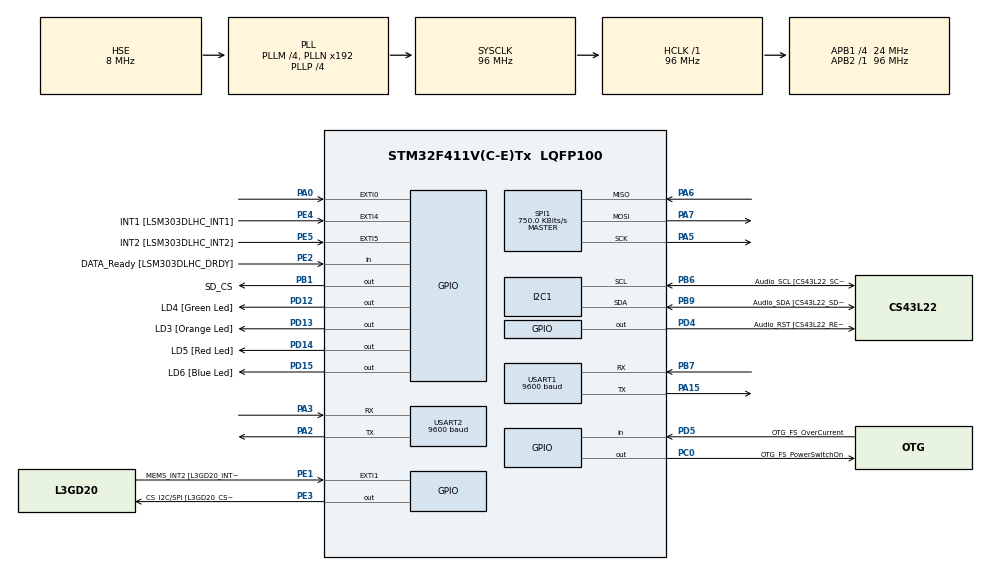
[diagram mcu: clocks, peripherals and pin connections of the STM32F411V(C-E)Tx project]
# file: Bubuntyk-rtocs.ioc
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FREERTOS.BinarySemaphores01=txThreadSem,Dynamic,NULL;rxThreadSem,Dynamic,NULL
FREERTOS.Tasks01=defaultTask,24,1000,StartDefaultTask,Default,NULL,Dynamic,NULL,NULL;rxDataThread,48,1000,startRxDataThread,Default,NULL,Dynamic,NULL,NULL;txDataThread,40,1000,startTxDataThread,Default,NULL,Dynamic,NULL,NULL;telemetryThread,16,1000,startTelemetryThread,Default,NULL,Dynamic,NULL,NULL
FREERTOS.Timers01=accTimer,accTimerCallback,osTimerPeriodic,Default,NULL,Dynamic,NULL;temperatureTimer,temperatureTimerCallback,osTimerPeriodic,Default,NULL,Dynamic,NULL
FREERTOS.configMINIMAL_STACK_SIZE=128
FREERTOS.configUSE_NEWLIB_REENTRANT=1
Mcu.Family=STM32F4
Mcu.Name=STM32F411V(C-E)Tx
Mcu.Package=LQFP100
NVIC.PriorityGroup=NVIC_PRIORITYGROUP_4
NVIC.TIM5_IRQn=true\:15\:0\:false\:false\:true\:false\:false\:true
NVIC.TimeBase=TIM5_IRQn
NVIC.TimeBaseIP=TIM5
NVIC.USART1_IRQn=true\:5\:0\:false\:false\:true\:true\:true\:true
NVIC.USART2_IRQn=true\:5\:0\:false\:false\:true\:true\:true\:true
PA0-WKUP.GPIO_ModeDefaultEXTI=GPIO_MODE_EVT_RISING
PA0-WKUP.Signal=GPXTI0
PA10.GPIO_Label=OTG_FS_ID
PA10.Signal=USB_OTG_FS_ID
PA13.GPIO_Label=SWDIO
PA13.Mode=Serial_Wire
PA13.Signal=SYS_JTMS-SWDIO
PA14.GPIO_Label=SWCLK
PA14.Mode=Serial_Wire
PA14.Signal=SYS_JTCK-SWCLK
PA15.Mode=Asynchronous
PA15.Signal=USART1_TX
PA2.Mode=Asynchronous
PA2.Signal=USART2_TX
PA3.Mode=Asynchronous
PA3.Signal=USART2_RX
PA4.GPIO_Label=I2S3_WS [CS43L22_LRCK]
PA4.GPIO_Mode=GPIO_MODE_AF_PP
PA4.GPIO_PuPd=GPIO_NOPULL
PA4.GPIO_Speed=GPIO_SPEED_FREQ_LOW
PA4.Signal=I2S3_WS
PA5.GPIO_Mode=GPIO_MODE_AF_PP
PA5.GPIO_PuPd=GPIO_PULLUP
PA5.GPIO_Speed=GPIO_SPEED_FREQ_VERY_HIGH
PA5.Mode=Full_Duplex_Master
PA5.Signal=SPI1_SCK
PA6.GPIO_Mode=GPIO_MODE_AF_PP
PA6.GPIO_PuPd=GPIO_PULLUP
PA6.GPIO_Speed=GPIO_SPEED_FREQ_VERY_HIGH
PA6.Mode=Full_Duplex_Master
PA6.Signal=SPI1_MISO
PA7.GPIO_Mode=GPIO_MODE_AF_PP
PA7.GPIO_PuPd=GPIO_PULLUP
PA7.GPIO_Speed=GPIO_SPEED_FREQ_VERY_HIGH
PA7.Mode=Full_Duplex_Master
PA7.Signal=SPI1_MOSI
PA9.GPIO_Label=VBUS_FS
PA9.Signal=USB_OTG_FS_VBUS
PB1.GPIO_Label=SD_CS
PB1.Signal=GPIO_Output
PB10.GPIO_Label=CLK_IN [MP45DT02_CLK]
PB10.Signal=I2S2_CK
PB12.Signal=I2S2_WS
PB3.GPIO_Label=SWO
PB3.Signal=SYS_JTDO-SWO
PB6.GPIO_Label=Audio_SCL [CS43L22_SCL]
PB6.GPIO_Mode=GPIO_MODE_AF_OD
PB6.GPIO_Pu=GPIO_PULLUP
PB6.GPIO_PuPd=GPIO_NOPULL
PB6.GPIO_Speed=GPIO_SPEED_FREQ_LOW
PB6.Mode=I2C
PB6.Signal=I2C1_SCL
PB7.Mode=Asynchronous
PB7.Signal=USART1_RX
PB9.GPIO_Label=Audio_SDA [CS43L22_SDA]
PB9.GPIO_Mode=GPIO_MODE_AF_OD
PB9.GPIO_Pu=GPIO_PULLUP
PB9.GPIO_PuPd=GPIO_NOPULL
PB9.GPIO_Speed=GPIO_SPEED_FREQ_LOW
PB9.Mode=I2C
PB9.Signal=I2C1_SDA
PC0.GPIO_Label=OTG_FS_PowerSwitchOn
PC0.PinState=GPIO_PIN_SET
PC0.Signal=GPIO_Output
PC10.GPIO_Label=I2S3_SCK [CS43L22_SCLK]
PC10.GPIO_Mode=GPIO_MODE_AF_PP
PC10.GPIO_PuPd=GPIO_NOPULL
PC10.GPIO_Speed=GPIO_SPEED_FREQ_LOW
PC10.Signal=I2S3_CK
PC12.GPIO_Label=I2S3_SD [CS43L22_SDIN]
PC12.GPIO_Mode=GPIO_MODE_AF_PP
PC12.GPIO_PuPd=GPIO_NOPULL
PC12.GPIO_Speed=GPIO_SPEED_FREQ_LOW
PC12.Signal=I2S3_SD
PC14-OSC32_IN.GPIO_Label=PC14-OSC32_IN
PC14-OSC32_IN.Mode=LSE-External-Oscillator
PC14-OSC32_IN.Signal=RCC_OSC32_IN
PC15-OSC32_OUT.GPIO_Label=PC15-OSC32_OUT
PC15-OSC32_OUT.Mode=LSE-External-Oscillator
PC15-OSC32_OUT.Signal=RCC_OSC32_OUT
PC3.GPIO_Label=PDM_OUT [MP45DT02_DOUT]
PC3.Signal=I2S2_SD
PC7.GPIO_Label=I2S3_MCK [CS43L22_MCLK]
PC7.GPIO_Mode=GPIO_MODE_AF_PP
PC7.GPIO_PuPd=GPIO_NOPULL
PC7.GPIO_Speed=GPIO_SPEED_FREQ_LOW
PC7.Signal=I2S3_MCK
PD12.GPIO_Label=LD4 [Green Led]
PD12.GPIO_PuPd=GPIO_NOPULL
PD12.GPIO_Speed=GPIO_SPEED_FREQ_LOW
PD12.Signal=GPIO_Output
PD13.GPIO_Label=LD3 [Orange Led]
PD13.GPIO_PuPd=GPIO_NOPULL
PD13.GPIO_Speed=GPIO_SPEED_FREQ_LOW
PD13.Signal=GPIO_Output
PD14.GPIO_Label=LD5 [Red Led]
PD14.GPIO_PuPd=GPIO_NOPULL
PD14.GPIO_Speed=GPIO_SPEED_FREQ_LOW
PD14.Signal=GPIO_Output
PD15.GPIO_Label=LD6 [Blue Led]
PD15.GPIO_PuPd=GPIO_NOPULL
PD15.GPIO_Speed=GPIO_SPEED_FREQ_LOW
PD15.Signal=GPIO_Output
PD4.GPIO_Label=Audio_RST [CS43L22_RESET]
PD4.Signal=GPIO_Output
PD5.GPIO_Label=OTG_FS_OverCurrent
PD5.Signal=GPIO_Input
PE1.GPIO_Label=MEMS_INT2 [L3GD20_INT2]
PE1.GPIO_ModeDefaultEXTI=GPIO_MODE_EVT_RISING
PE1.Signal=GPXTI1
PE2.GPIO_Label=DATA_Ready [LSM303DLHC_DRDY]
PE2.Signal=GPIO_Input
PE3.GPIO_Label=CS_I2C/SPI [L3GD20_CS_I2C/SPI]
PE3.Signal=GPIO_Output
PE4.GPIO_Label=INT1 [LSM303DLHC_INT1]
PE4.GPIO_ModeDefaultEXTI=GPIO_MODE_EVT_RISING
PE4.Signal=GPXTI4
PE5.GPIO_Label=INT2 [LSM303DLHC_INT2]
PE5.GPIO_ModeDefaultEXTI=GPIO_MODE_EVT_RISING
PE5.Signal=GPXTI5
PH0\ -\ OSC_IN.GPIO_Label=PH0-OSC_IN
PH0\ -\ OSC_IN.Mode=HSE-External-Oscillator
PH0\ -\ OSC_IN.Signal=RCC_OSC_IN
PH1\ -\ OSC_OUT.GPIO_Label=PH1-OSC_OUT
PH1\ -\ OSC_OUT.Mode=HSE-External-Oscillator
PH1\ -\ OSC_OUT.Signal=RCC_OSC_OUT
ProjectManager.HeapSize=0x200
ProjectManager.StackSize=0x400
ProjectManager.TargetToolchain=STM32CubeIDE
RCC.48MHZClocksFreq_Value=48000000
RCC.AHBFreq_Value=96000000
RCC.APB1CLKDivider=RCC_HCLK_DIV4
RCC.APB1Freq_Value=24000000
RCC.APB1TimFreq_Value=48000000
RCC.APB2Freq_Value=96000000
RCC.APB2TimFreq_Value=96000000
RCC.CortexFreq_Value=96000000
RCC.HCLKFreq_Value=96000000
RCC.HSE_VALUE=8000000
RCC.HSI_VALUE=16000000
RCC.PLLI2SM=5
RCC.PLLI2SN=200
RCC.PLLM=4
RCC.PLLP=RCC_PLLP_DIV4
RCC.PLLQ=8
RCC.PLLSourceVirtual=RCC_PLLSOURCE_HSE
RCC.SYSCLKFreq_VALUE=96000000
RCC.SYSCLKSource=RCC_SYSCLKSOURCE_PLLCLK
RCC.VCOOutputFreq_Value=384000000
SPI1.BaudRatePrescaler=SPI_BAUDRATEPRESCALER_128
SPI1.CalculateBaudRate=750.0 KBits/s
SPI1.Direction=SPI_DIRECTION_2LINES
SPI1.Mode=SPI_MODE_MASTER
SPI1.VirtualType=VM_MASTER
USART1.BaudRate=9600
USART1.VirtualMode=VM_ASYNC
USART2.BaudRate=9600
USART2.VirtualMode=VM_ASYNC
VP_FATFS_VS_Generic.Mode=User_defined
VP_FREERTOS_VS_CMSIS_V2.Mode=CMSIS_V2
VP_SYS_VS_tim5.Mode=TIM5
board=STM32F411E-DISCO

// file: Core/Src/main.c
/* USER CODE BEGIN Header */
/**
  ******************************************************************************
  * @file           : main.c
  * @brief          : Main program body
  ******************************************************************************
  * @attention
  *
  * <h2><center>&copy; Copyright (c) 2022 STMicroelectronics.
  * All rights reserved.</center></h2>
  *
  * This software component is licensed by ST under Ultimate Liberty license
  * SLA0044, the "License"; You may not use this file except in compliance with
  * the License. You may obtain a copy of the License at:
  *                             www.st.com/SLA0044
  *
  ******************************************************************************
  */
/* USER CODE END Header */
#include "main.h"
#include "cmsis_os.h"
#include "fatfs.h"
#include "i2c.h"
#include "spi.h"
#include "usart.h"
#include "gpio.h"

void SystemClock_Config(void);
void MX_FREERTOS_Init(void);

int main(void)
{

  /* MCU Configuration--------------------------------------------------------*/

  /* Reset of all peripherals, Initializes the Flash interface and the Systick. */
  HAL_Init();

  /* Configure the system clock */
  SystemClock_Config();

  /* Initialize all configured peripherals */
  MX_GPIO_Init();
  MX_I2C1_Init();
  MX_SPI1_Init();
  MX_FATFS_Init();
  MX_USART2_UART_Init();
  MX_USART1_UART_Init();
  /* USER CODE BEGIN 2 */
  // delay needed for sd to stabilize as well as to make the upload
  // of new firmware possible (boot related issue);
  HAL_Delay(2000);

  // run in the background receive from uart
  // in order to implment possibility to wake up
  HAL_UART_Receive_IT(&huart2, (uint8_t *)notification_buffer, 1);
  /* USER CODE END 2 */

  /* Init scheduler */
  osKernelInitialize();  /* Call init function for freertos objects (in freertos.c) */
  MX_FREERTOS_Init();
  /* Start scheduler */
  osKernelStart();

  /* We should never get here as control is now taken by the scheduler */
  /* Infinite loop */
  while (1)
  {

  }
}

void SystemClock_Config(void)
{
  RCC_OscInitTypeDef RCC_OscInitStruct = {0};
  RCC_ClkInitTypeDef RCC_ClkInitStruct = {0};

  /** Configure the main internal regulator output voltage
  */
  __HAL_RCC_PWR_CLK_ENABLE();
  __HAL_PWR_VOLTAGESCALING_CONFIG(PWR_REGULATOR_VOLTAGE_SCALE1);
  /** Initializes the RCC Oscillators according to the specified parameters
  * in the RCC_OscInitTypeDef structure.
  */
  RCC_OscInitStruct.OscillatorType = RCC_OSCILLATORTYPE_HSE;
  RCC_OscInitStruct.HSEState = RCC_HSE_ON;
  RCC_OscInitStruct.PLL.PLLState = RCC_PLL_ON;
  RCC_OscInitStruct.PLL.PLLSource = RCC_PLLSOURCE_HSE;
  RCC_OscInitStruct.PLL.PLLM = 4;
  RCC_OscInitStruct.PLL.PLLN = 192;
  RCC_OscInitStruct.PLL.PLLP = RCC_PLLP_DIV4;
  RCC_OscInitStruct.PLL.PLLQ = 8;
  if (HAL_RCC_OscConfig(&RCC_OscInitStruct) != HAL_OK)
  {
    Error_Handler();
  }
  /** Initializes the CPU, AHB and APB buses clocks
  */
  RCC_ClkInitStruct.ClockType = RCC_CLOCKTYPE_HCLK|RCC_CLOCKTYPE_SYSCLK
                              |RCC_CLOCKTYPE_PCLK1|RCC_CLOCKTYPE_PCLK2;
  RCC_ClkInitStruct.SYSCLKSource = RCC_SYSCLKSOURCE_PLLCLK;
  RCC_ClkInitStruct.AHBCLKDivider = RCC_SYSCLK_DIV1;
  RCC_ClkInitStruct.APB1CLKDivider = RCC_HCLK_DIV4;
  RCC_ClkInitStruct.APB2CLKDivider = RCC_HCLK_DIV1;

  if (HAL_RCC_ClockConfig(&RCC_ClkInitStruct, FLASH_LATENCY_3) != HAL_OK)
  {
    Error_Handler();
  }
}

void HAL_TIM_PeriodElapsedCallback(TIM_HandleTypeDef *htim)
{
  if (htim->Instance == TIM5) {
    HAL_IncTick();
  }
}

void Error_Handler(void)
{
  __disable_irq();
  while (1)
  {
  }
}

/************************ (C) COPYRIGHT STMicroelectronics *****END OF FILE****/

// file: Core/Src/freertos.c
/* USER CODE BEGIN Header */
/**
  ******************************************************************************
  * File Name          : freertos.c
  * Description        : Code for freertos applications
  ******************************************************************************
  * @attention
  *
  * <h2><center>&copy; Copyright (c) 2022 STMicroelectronics.
  * All rights reserved.</center></h2>
  *
  * This software component is licensed by ST under Ultimate Liberty license
  * SLA0044, the "License"; You may not use this file except in compliance with
  * the License. You may obtain a copy of the License at:
  *                             www.st.com/SLA0044
  *
  ******************************************************************************
  */
/* USER CODE END Header */

#include "FreeRTOS.h"
#include "task.h"
#include "main.h"
#include "cmsis_os.h"

/* USER CODE BEGIN Includes */
#include "telemetry_base_class.h"
#include "fatfs.h"
/* USER CODE END Includes */

/* USER CODE BEGIN Variables */

osStatus_t status;

FATFS FatFs;
FIL telemetryFile;

/* USER CODE END Variables */
/* Definitions for defaultTask */
osThreadId_t defaultTaskHandle;
const osThreadAttr_t defaultTask_attributes = {
  .name = "defaultTask",
  .stack_size = 1000 * 4,
  .priority = (osPriority_t) osPriorityNormal,
};
/* Definitions for rxDataThread */
osThreadId_t rxDataThreadHandle;
const osThreadAttr_t rxDataThread_attributes = {
  .name = "rxDataThread",
  .stack_size = 1000 * 4,
  .priority = (osPriority_t) osPriorityRealtime,
};
/* Definitions for txDataThread */
osThreadId_t txDataThreadHandle;
const osThreadAttr_t txDataThread_attributes = {
  .name = "txDataThread",
  .stack_size = 1000 * 4,
  .priority = (osPriority_t) osPriorityHigh,
};
/* Definitions for telemetryThread */
osThreadId_t telemetryThreadHandle;
const osThreadAttr_t telemetryThread_attributes = {
  .name = "telemetryThread",
  .stack_size = 1000 * 4,
  .priority = (osPriority_t) osPriorityBelowNormal,
};
/* Definitions for accTimer */
osTimerId_t accTimerHandle;
const osTimerAttr_t accTimer_attributes = {
  .name = "accTimer"
};
/* Definitions for temperatureTimer */
osTimerId_t temperatureTimerHandle;
const osTimerAttr_t temperatureTimer_attributes = {
  .name = "temperatureTimer"
};
/* Definitions for txThreadSem */
osSemaphoreId_t txThreadSemHandle;
const osSemaphoreAttr_t txThreadSem_attributes = {
  .name = "txThreadSem"
};
/* Definitions for rxThreadSem */
osSemaphoreId_t rxThreadSemHandle;
const osSemaphoreAttr_t rxThreadSem_attributes = {
  .name = "rxThreadSem"
};

/* USER CODE BEGIN FunctionPrototypes */
osMessageQueueId_t telemetryQueueHandle;
const osMessageQueueAttr_t telemetryQueue_attributes = {
  .name = "telemetryQueue"
};

osMutexId_t telemetryFileMutexHandle;
const osMutexAttr_t telemetryFileMutex_attributes = {
  .name = "telemetryFileMutex",
  .attr_bits = osMutexPrioInherit
};

/* USER CODE END FunctionPrototypes */

void StartDefaultTask(void *argument);
void startRxDataThread(void *argument);
void startTxDataThread(void *argument);
void startTelemetryThread(void *argument);
void accTimerCallback(void *argument);
void temperatureTimerCallback(void *argument);

void MX_FREERTOS_Init(void); /* (MISRA C 2004 rule 8.1) */

void MX_FREERTOS_Init(void) {
  /* USER CODE BEGIN Init */

	// initialize sd card now to check whether it is working
	// second arg is basically prefic of path to file
	FRESULT fres = f_mount(&FatFs, "", 1);
	if (fres != FR_OK) {
		myprintf("f_mount error (%i)\r\n", fres);
		Error_Handler();
	} else {
		myprintf("SD card mounted\n");
	}
  /* USER CODE END Init */

  /* USER CODE BEGIN RTOS_MUTEX */
  /* add mutexes, ... */
  telemetryFileMutexHandle = osMutexNew(&telemetryFileMutex_attributes);
  /* USER CODE END RTOS_MUTEX */

  /* Create the semaphores(s) */
  /* creation of txThreadSem */
  txThreadSemHandle = osSemaphoreNew(1, 1, &txThreadSem_attributes);

  /* creation of rxThreadSem */
  rxThreadSemHandle = osSemaphoreNew(1, 1, &rxThreadSem_attributes);

  /* USER CODE BEGIN RTOS_SEMAPHORES */
  /* add semaphores, ... */
  osSemaphoreAcquire(txThreadSemHandle, 0);
  osSemaphoreAcquire(rxThreadSemHandle, 0);
  /* USER CODE END RTOS_SEMAPHORES */

  /* Create the timer(s) */
  /* creation of accTimer */
  accTimerHandle = osTimerNew(accTimerCallback, osTimerPeriodic, NULL, &accTimer_attributes);

  /* creation of temperatureTimer */
  temperatureTimerHandle = osTimerNew(temperatureTimerCallback, osTimerPeriodic, NULL, &temperatureTimer_attributes);

  /* USER CODE BEGIN RTOS_TIMERS */
  /* start timers, add new ones, ... */

  if (accTimerHandle != NULL)  {
      status = osTimerStart(accTimerHandle, 10000U);       // start timer
      if (status != osOK) {
        // Timer could not be started
    	Error_Handler();
      }
  } else {
	  Error_Handler();
  }

  if (temperatureTimerHandle != NULL)  {
        status = osTimerStart(temperatureTimerHandle, 10000U);       // start timer
        if (status != osOK) {
          // Timer could not be started
      	Error_Handler();
        }
    } else {
  	  Error_Handler();
    }
  /* USER CODE END RTOS_TIMERS */

  /* USER CODE BEGIN RTOS_QUEUES */
  /* add queues, ... */
  telemetryQueueHandle = osMessageQueueNew(16, sizeof(TelemetryBase), &telemetryQueue_attributes);
  /* USER CODE END RTOS_QUEUES */

  /* Create the thread(s) */
  /* creation of defaultTask */
  defaultTaskHandle = osThreadNew(StartDefaultTask, NULL, &defaultTask_attributes);

  /* creation of rxDataThread */
  rxDataThreadHandle = osThreadNew(startRxDataThread, NULL, &rxDataThread_attributes);

  /* creation of txDataThread */
  txDataThreadHandle = osThreadNew(startTxDataThread, NULL, &txDataThread_attributes);

  /* creation of telemetryThread */
  telemetryThreadHandle = osThreadNew(startTelemetryThread, NULL, &telemetryThread_attributes);

}

void StartDefaultTask(void *argument)
{
  for(;;)
  {
    osDelay(1);
  }
}

void startRxDataThread(void *argument)
{
  /* USER CODE BEGIN startRxDataThread */
	 // thread is with the highest priority, as after the signal about new firmware
	 // has come, we are not interested in data anymore
	FRESULT wr;
	UINT bytesWrote;
	int cmpRes;

	uint8_t firmwareChunk[16];
  /* Infinite loop */
  for(;;)
  {
	  osSemaphoreAcquire(rxThreadSemHandle, osWaitForever);

	  myprintf("Firmware to be uploaded...\n");

	  status = osMutexAcquire(telemetryFileMutexHandle, osWaitForever);
	  if (status != osOK) {
		  myprintf("Could not take mutex for writing into file");
	  } else {
		  wr = f_open(&telemetryFile, "FIMWARE2.bin", FA_WRITE | FA_CREATE_ALWAYS);

		  osMutexRelease(telemetryFileMutexHandle);
		  if(wr != FR_OK) {
			  myprintf("f_open error (%i)\n", wr);
		  } else {
			  for (;;) {
				  memset(firmwareChunk, 0, sizeof(firmwareChunk));
				  HAL_UART_Receive(&huart2, firmwareChunk, 4, HAL_MAX_DELAY);
				  cmpRes = strcmp(firmwareChunk, "$END");
				  if (cmpRes == 0) {
					  break;
				  }

				  osMutexAcquire(telemetryFileMutexHandle, osWaitForever);
				  wr = f_write(&telemetryFile, firmwareChunk, 4, &bytesWrote);
				  osMutexRelease(telemetryFileMutexHandle);

				  if (wr != FR_OK) {
					  myprintf("[ERROR]: f_write firmware (%d)\n", wr);
					  break;
				  }
			  }

			  osMutexAcquire(telemetryFileMutexHandle, osWaitForever);
			  f_close(&telemetryFile);
			  osMutexRelease(telemetryFileMutexHandle);
		  }
	  }

	 HAL_UART_Receive_IT(&huart2, (uint8_t *)&notification_buffer, 1);
  }
  /* USER CODE END startRxDataThread */
}

void startTxDataThread(void *argument)
{
  /* USER CODE BEGIN startTxDataThread */
	FRESULT rr;
	// TODO: get rid of magic constants
	BYTE rbuf[100] = {0};
  /* Infinite loop */
  for(;;)
  {
	  status = osSemaphoreAcquire(txThreadSemHandle, osWaitForever);
	  myprintf2("[INFO]: txDataThread : sem acquire : (%d)\n", status);

	  // there is no need to take mutex, as currenlty this is the only task
	  // that actually uses uart (if we omit the debug part)

	  // read from sd and write the info into uart (mock gprs)
	  status = osMutexAcquire(telemetryFileMutexHandle, osWaitForever);
	  if (status != osOK) {
		  myprintf2("Could not take mutex for reading into file");
	  } else {
		  rr = f_open(&telemetryFile, "write.txt", FA_READ| FA_OPEN_ALWAYS);

		  if(rr != FR_OK) {
			  osMutexRelease(telemetryFileMutexHandle);
			  myprintf2("[ERROR]: (reading) f_open (%i)\n", rr);
		  } else {
			  // TODO: do we really need this one here ?
			  f_lseek(&telemetryFile, 0);

			  unsigned int bytesRead = 1;
		  	  while (bytesRead != 0) {
			  	  f_read(&telemetryFile, &rbuf, sizeof(rbuf), &bytesRead);
			  	  osMutexRelease(telemetryFileMutexHandle);
			  	  myprintf2("[READ]: %s\n", rbuf);
			  	  osMutexAcquire(telemetryFileMutexHandle, osWaitForever);
		  	  }

		  	  f_close(&telemetryFile);
		  	  f_unlink("write.txt");

		  	  osMutexRelease(telemetryFileMutexHandle);
		  }
	  }

	  HAL_UART_Receive_IT(&huart2, (uint8_t *)&notification_buffer, 1);
  }
  /* USER CODE END startTxDataThread */
}

void startTelemetryThread(void *argument)
{
  /* USER CODE BEGIN startTelemetryThread */
  TelemetryBase tb;
  FRESULT wr;
  // TODO: get rid of magic constant
  BYTE wbuf[128] = {0};

  /* Infinite loop */
  for(;;)
  {
	 status = osMessageQueueGet(telemetryQueueHandle, &tb, NULL, osWaitForever);
	 if (status == osOK) {
		 // write into sd card

		 sprintf(wbuf, "Telemetry{%d, %u, {%d, %d, %d}}\n",
				 tb.id, tb.data_size, tb.data[0],
				 tb.data[1], tb.data[2]);
		 myprintf("Writing following string to sd: %s", wbuf);

		 // TODO: add mutex here
		 status = osMutexAcquire(telemetryFileMutexHandle, osWaitForever);
		 if (status != osOK) {
			 myprintf("Could not take mutex for writing into file");
		 } else {
		 	 wr = f_open(&telemetryFile, "write.txt", FA_OPEN_APPEND | FA_WRITE | FA_OPEN_ALWAYS);

		 	 if(wr == FR_OK) {
		 		 myprintf("I was able to open '%s' for writing\n", TELEMETRY_FILE);
		 	 } else {
		 		 myprintf("f_open error (%i)\n", wr);
		 	 }

		 	 UINT bytesWrote;
		 	 // TODO: and also I assume we should add mutex here
		 	 wr = f_write(&telemetryFile, wbuf, strlen(wbuf), &bytesWrote);
		 	 if(wr == FR_OK) {
		 		 myprintf("Wrote %i bytes to 'write.txt'!\n", bytesWrote);
		 	 } else {
		 		 myprintf("f_write error (%d)\n", (int) bytesWrote);
		 	 }

		 	 f_close(&telemetryFile);
	 	 }

		 osMutexRelease(telemetryFileMutexHandle);
	 }
  }
  /* USER CODE END startTelemetryThread */
}

/* accTimerCallback function */
void accTimerCallback(void *argument)
{
  /* USER CODE BEGIN accTimerCallback */
	TelemetryBase acc;

	acc.id = ACC;
	acc.data_size = 3;
	for (size_t i = 0; i < acc.data_size; i++) {
		acc.data[i] = i;
	}

	// note that this might be called from isr, if the
	// time parameter is set to 0
	osMessageQueuePut(telemetryQueueHandle, &acc, 0U, 0U);
  /* USER CODE END accTimerCallback */
}

/* temperatureTimerCallback function */
void temperatureTimerCallback(void *argument)
{
  /* USER CODE BEGIN temperatureTimerCallback */
	TelemetryBase acc;

	acc.id = ACC;
	acc.data_size = 3;
	for (size_t i = 0; i < acc.data_size; i++) {
		acc.data[i] = acc.data_size - i;
	}

	osMessageQueuePut(telemetryQueueHandle, &acc, 0U, 0U);
  /* USER CODE END temperatureTimerCallback */
}

/* USER CODE BEGIN Application */
/*
 * [IMPORTANT] TODO: Note that this functoin is unsafe (as we might interrupt uart usage)
 * Actually not, as we would transmit only after this
 */
void HAL_UART_RxCpltCallback(UART_HandleTypeDef *huart) {
     if (huart == &huart2) {
    	 int val = (int) (notification_buffer[0] - '0');
		 switch (val) {
		 case 0:
			 osSemaphoreRelease(rxThreadSemHandle);
			 break;
		 case 1:
			 status = osSemaphoreRelease(txThreadSemHandle);
			 myprintf2("[INFO]: status of semaphore release: %d\n", status);
			 break;
		 default:
			 myprintf2("[ERROR]: Op not allowed: %d\n", val);
			 HAL_UART_Receive_IT(&huart2, (uint8_t *)&notification_buffer, 1);
			 break;
		 };

     }
}
/* USER CODE END Application */

/************************ (C) COPYRIGHT STMicroelectronics *****END OF FILE****/
